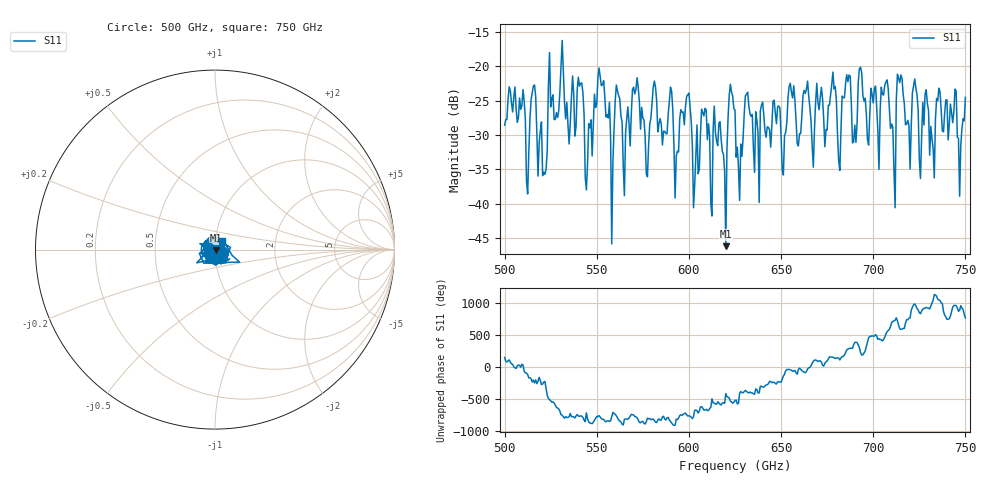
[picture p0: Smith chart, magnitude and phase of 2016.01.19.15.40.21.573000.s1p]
!Created with skrf (http://scikit-rf.org).
# GHz S RI R 50.0
!freq ReS11 ImS11
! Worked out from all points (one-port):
!   401 points, 500 GHz to 750 GHz, reference 50 ohm
!   lowest |S11| = -46.2 dB at 620 GHz (marker M1), VSWR 1.01, Z = 50.3 - j0.371 ohm
!   |S11| at or under -10 dB: start of sweep to end of sweep
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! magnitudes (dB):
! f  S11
! 500 GHz  -28.6
! 512.5 GHz  -38.6
! 515.6 GHz  -22.9
! 521.9 GHz  -35.7
! 525 GHz  -25.9
! 531.2 GHz  -16.2
! 541.2 GHz  -22.5
! 545 GHz  -34.2
! 551.9 GHz  -21.5
! 558.1 GHz  -45.9
! 562.5 GHz  -24.8
! 577.5 GHz  -36.1
! 590 GHz  -23.0
! 593.8 GHz  -32.4
! 599.4 GHz  -24.2
! 603.8 GHz  -33.2
! 608.1 GHz  -27.2
! 620 GHz  -46.2
! 622.5 GHz  -22.6
! 625 GHz  -26.4
! 651.2 GHz  -35.8
! 656.2 GHz  -24.6
! 687.5 GHz  -21.4
! 706.9 GHz  -22.3
! 710.6 GHz  -28.9
! 714.4 GHz  -22.4
! 718.8 GHz  -27.9
! 750 GHz  -24.5
